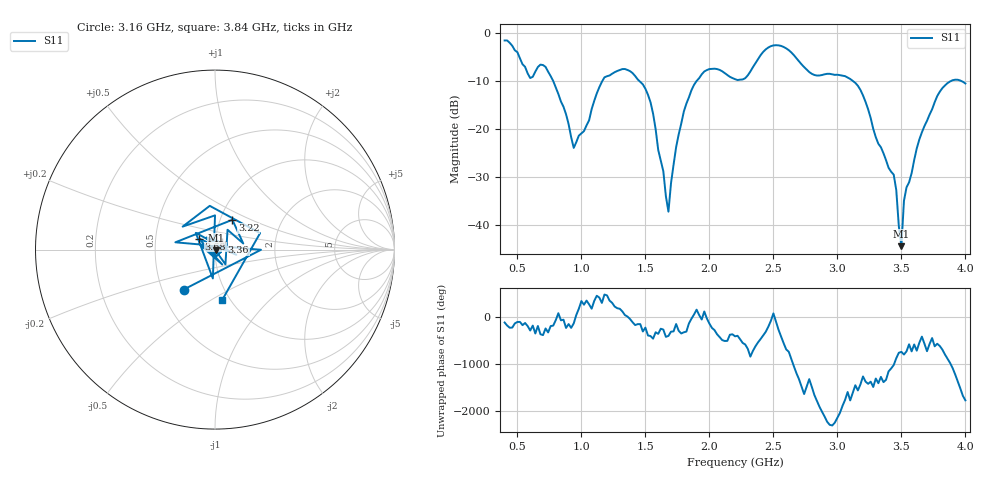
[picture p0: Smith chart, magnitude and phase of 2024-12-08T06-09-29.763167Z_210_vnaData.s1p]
!Created with skrf (http://scikit-rf.org).
# Hz S RI R 50.0
!freq ReS11 ImS11
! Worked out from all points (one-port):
!   181 points, 400 MHz to 4 GHz, reference 50 ohm
!   lowest |S11| = -44.4 dB at 3.5 GHz (marker M1), VSWR 1.01, Z = 50.5 - j0.286 ohm
!   |S11| at or under -10 dB: 780.3 MHz to 1.163 GHz (382.6 MHz wide, 39.4 % of centre); 1.454 GHz to 1.899 GHz (444.8 MHz wide, 26.5 % of centre); 3.123 GHz to 3.885 GHz (762.3 MHz wide, 21.8 % of centre) (the widest 3 of 4)
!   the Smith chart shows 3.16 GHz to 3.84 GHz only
!   S11 on the Smith chart (normalised r, x): 3.16 GHz: 0.64, -0.31; 3.22 GHz: 1.14, +0.39; 3.36 GHz: 1.07, +0.09; 3.68 GHz: 0.83, +0.10; 3.84 GHz: 0.92, -0.56
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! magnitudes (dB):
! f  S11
! 400 MHz  -1.5
! 600 MHz  -9.3
! 720 MHz  -7.0
! 860 MHz  -15.3
! 940 MHz  -23.9
! 1.18 GHz  -9.2
! 1.3 GHz  -7.7
! 1.52 GHz  -12.8
! 1.64 GHz  -28.8
! 1.68 GHz  -37.2
! 1.76 GHz  -21.1
! 1.86 GHz  -11.9
! 1.96 GHz  -8.0
! 2.2 GHz  -9.6
! 2.48 GHz  -2.7
! 2.66 GHz  -4.6
! 2.82 GHz  -8.7
! 3.1 GHz  -9.5
! 3.16 GHz  -11.0
! 3.22 GHz  -14.3
! 3.36 GHz  -25.0
! 3.44 GHz  -29.5
! 3.5 GHz  -44.4
! 3.52 GHz  -34.9
! 3.56 GHz  -31.1
! 3.68 GHz  -19.4
! 3.84 GHz  -10.9
! 4 GHz  -10.5
